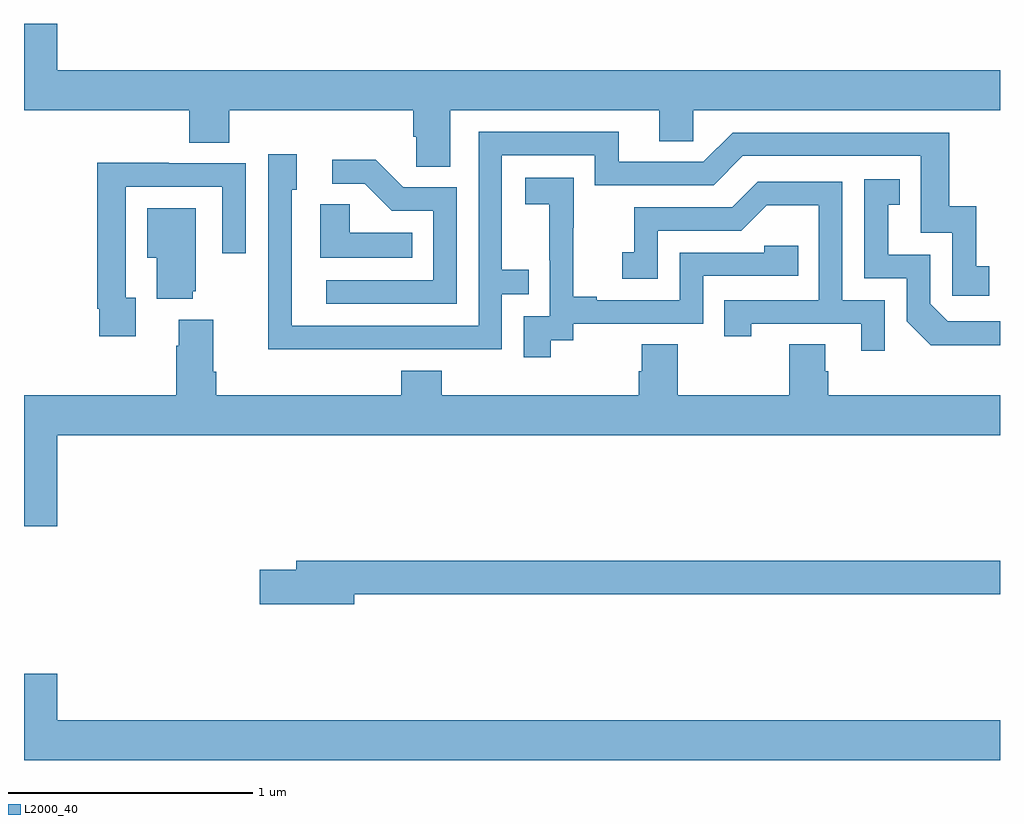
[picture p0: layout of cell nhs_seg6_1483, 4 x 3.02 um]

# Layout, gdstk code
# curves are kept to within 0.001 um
import gdstk
lib = gdstk.Library(unit=1e-6, precision=1e-09)
def P(c, l, *ps):  # polygons
    for p in ps: c.add(gdstk.Polygon(p, *l))
L2000_40 = (2000, 40)

nhs_seg6_1483 = lib.new_cell('nhs_seg6_1483')
P(nhs_seg6_1483, L2000_40, [(202.747,960.656),(203.603,960.656),(203.603,960.529),(203.742,960.529),(203.742,960.656),(205,960.656),(205,960.82),(201.136,960.82),(201.136,961.009),(201,961.009),(201,960.656),(201.677,960.656),(201.677,960.523),(201.842,960.523),(201.842,960.656),(202.595,960.656),(202.595,960.547),(202.608,960.547),(202.608,960.424),(202.747,960.424)],
  [(202.463,959.676),(202.959,959.676),(202.959,959.901),(203.069,959.901),(203.069,960.002),(202.959,960.002),(202.959,960.471),(203.34,960.471),(203.34,960.348),(203.826,960.348),(203.946,960.468),(204.675,960.468),(204.675,960.153),(204.804,960.153),(204.804,959.895),(204.955,959.895),(204.955,960.015),(204.902,960.015),(204.902,960.262),(204.791,960.262),(204.791,960.564),(203.904,960.564),(203.784,960.444),(203.437,960.444),(203.437,960.567),(202.863,960.567),(202.863,959.772),(202.098,959.772),(202.098,960.33),(202.117,960.33),(202.117,960.475),(202.002,960.475),(202.002,959.981),(202,959.981),(202,959.675)],
  [(202.773,960.339),(202.554,960.339),(202.441,960.452),(202.263,960.452),(202.263,960.354),(202.397,960.354),(202.508,960.243),(202.677,960.243),(202.677,959.958),(202.239,959.958),(202.239,959.862),(202.773,959.862)],
  [(201.457,959.886),(201.417,959.886),(201.417,960.342),(201.813,960.342),(201.813,960.069),(201.909,960.069),(201.909,960.438),(201.593,960.438),(201.593,960.44),(201.301,960.44),(201.301,959.842),(201.309,959.842),(201.309,959.73),(201.457,959.73)],
  [(203.158,959.713),(203.25,959.713),(203.25,959.781),(203.784,959.781),(203.784,959.976),(204.173,959.976),(204.173,960.099),(204.033,960.099),(204.033,960.072),(203.688,960.072),(203.688,959.877),(203.347,959.877),(203.347,959.89),(203.252,959.89),(203.252,960.173),(203.253,960.173),(203.253,960.379),(203.055,960.379),(203.055,960.269),(203.153,960.269),(203.153,960.041),(203.154,960.041),(203.154,959.811),(203.049,959.811),(203.049,959.643),(203.158,959.643)],
  [(205,959.79),(204.786,959.79),(204.714,959.862),(204.714,960.063),(204.541,960.063),(204.541,960.267),(204.59,960.267),(204.59,960.373),(204.444,960.373),(204.444,959.967),(204.618,959.967),(204.618,959.79),(204.716,959.693),(205,959.693)],
  [(204.528,959.877),(204.354,959.877),(204.354,960.363),(204.008,960.363),(203.903,960.258),(203.5,960.258),(203.5,960.073),(203.451,960.073),(203.451,959.964),(203.598,959.964),(203.598,960.162),(203.94,960.162),(204.044,960.266),(204.258,960.266),(204.258,959.877),(203.869,959.877),(203.869,959.73),(203.98,959.73),(203.98,959.781),(204.431,959.781),(204.431,959.67),(204.528,959.67)],
  [(202.592,960.154),(202.335,960.154),(202.335,960.269),(202.214,960.269),(202.214,960.05),(202.592,960.05)],
  [(201.692,959.913),(201.703,959.913),(201.703,960.253),(201.506,960.253),(201.506,960.05),(201.545,960.05),(201.545,959.882),(201.692,959.882)],
  [(201.136,959.324),(205,959.324),(205,959.488),(204.296,959.488),(204.296,959.586),(204.283,959.586),(204.283,959.696),(204.136,959.696),(204.136,959.488),(203.679,959.488),(203.679,959.696),(203.531,959.696),(203.531,959.586),(203.519,959.586),(203.519,959.488),(202.712,959.488),(202.712,959.587),(202.547,959.587),(202.547,959.488),(201.788,959.488),(201.788,959.584),(201.775,959.584),(201.775,959.797),(201.635,959.797),(201.635,959.69),(201.623,959.69),(201.623,959.488),(201,959.488),(201,958.95),(201.136,958.95)],
  [(202.354,958.672),(205,958.672),(205,958.808),(202.115,958.808),(202.115,958.772),(201.966,958.772),(201.966,958.63),(202.354,958.63)],
  [(205,958.156),(201.136,958.156),(201.136,958.345),(201,958.345),(201,957.992),(205,957.992)])

lib.write_gds('nhs_seg6_1483.gds')
